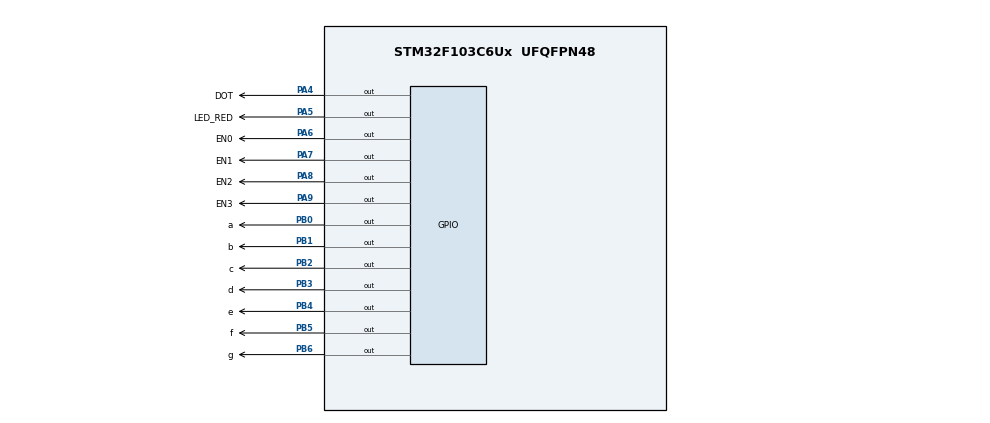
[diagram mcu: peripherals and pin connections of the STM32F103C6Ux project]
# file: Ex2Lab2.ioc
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Mcu.Family=STM32F1
Mcu.Name=STM32F103C6Ux
Mcu.Package=UFQFPN48
NVIC.PriorityGroup=NVIC_PRIORITYGROUP_4
NVIC.TIM2_IRQn=true\:0\:0\:false\:false\:true\:true\:true
PA4.GPIO_Label=DOT
PA4.Signal=GPIO_Output
PA5.GPIO_Label=LED_RED
PA5.Signal=GPIO_Output
PA6.GPIO_Label=EN0
PA6.Signal=GPIO_Output
PA7.GPIO_Label=EN1
PA7.Signal=GPIO_Output
PA8.GPIO_Label=EN2
PA8.Signal=GPIO_Output
PA9.GPIO_Label=EN3
PA9.Signal=GPIO_Output
PB0.GPIO_Label=a
PB0.Signal=GPIO_Output
PB1.GPIO_Label=b
PB1.Signal=GPIO_Output
PB2.GPIO_Label=c
PB2.Signal=GPIO_Output
PB3.GPIO_Label=d
PB3.Signal=GPIO_Output
PB4.GPIO_Label=e
PB4.Signal=GPIO_Output
PB5.GPIO_Label=f
PB5.Signal=GPIO_Output
PB6.GPIO_Label=g
PB6.Signal=GPIO_Output
ProjectManager.HeapSize=0x200
ProjectManager.StackSize=0x400
ProjectManager.TargetToolchain=STM32CubeIDE
RCC.APB1Freq_Value=8000000
RCC.APB2Freq_Value=8000000
TIM2.Period=9
TIM2.Prescaler=7999
VP_SYS_VS_ND.Mode=No_Debug
VP_TIM2_VS_ClockSourceINT.Mode=Internal
board=custom

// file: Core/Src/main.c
/* USER CODE BEGIN Header */
/**
  ******************************************************************************
  * @file           : main.c
  * @brief          : Main program body
  ******************************************************************************
  * @attention
  *
  * <h2><center>&copy; Copyright (c) 2024 STMicroelectronics.
  * All rights reserved.</center></h2>
  *
  * This software component is licensed by ST under BSD 3-Clause license,
  * the "License"; You may not use this file except in compliance with the
  * License. You may obtain a copy of the License at:
  *                        opensource.org/licenses/BSD-3-Clause
  *
  ******************************************************************************
  */
/* USER CODE END Header */
#include "main.h"

TIM_HandleTypeDef htim2;

void SystemClock_Config(void);
static void MX_GPIO_Init(void);
static void MX_TIM2_Init(void);
void display7SEG(int num);

int main(void)
{

  /* MCU Configuration--------------------------------------------------------*/

  /* Reset of all peripherals, Initializes the Flash interface and the Systick. */
  HAL_Init();

  /* Configure the system clock */
  SystemClock_Config();

  /* Initialize all configured peripherals */
  MX_GPIO_Init();
  MX_TIM2_Init();
  /* USER CODE BEGIN 2 */
  HAL_TIM_Base_Start_IT(&htim2);
  /* USER CODE END 2 */

  /* Infinite loop */
  while (1)
  {

  }
}
void display7SEG(int num)
{

  if (num == 1)
  {
    HAL_GPIO_WritePin(a_GPIO_Port, a_Pin, GPIO_PIN_SET);
    HAL_GPIO_WritePin(b_GPIO_Port, b_Pin, GPIO_PIN_RESET);
    HAL_GPIO_WritePin(c_GPIO_Port, c_Pin, GPIO_PIN_RESET);
    HAL_GPIO_WritePin(d_GPIO_Port, d_Pin, GPIO_PIN_SET);
    HAL_GPIO_WritePin(e_GPIO_Port, e_Pin, GPIO_PIN_SET);
    HAL_GPIO_WritePin(f_GPIO_Port, f_Pin, GPIO_PIN_SET);
    HAL_GPIO_WritePin(g_GPIO_Port, g_Pin, GPIO_PIN_SET);
  }

  else if (num == 2)
  {
    HAL_GPIO_WritePin(a_GPIO_Port, a_Pin, GPIO_PIN_RESET);
    HAL_GPIO_WritePin(b_GPIO_Port, b_Pin, GPIO_PIN_RESET);
    HAL_GPIO_WritePin(c_GPIO_Port, c_Pin, GPIO_PIN_SET);
    HAL_GPIO_WritePin(d_GPIO_Port, d_Pin, GPIO_PIN_RESET);
    HAL_GPIO_WritePin(e_GPIO_Port, e_Pin, GPIO_PIN_RESET);
    HAL_GPIO_WritePin(f_GPIO_Port, f_Pin, GPIO_PIN_SET);
    HAL_GPIO_WritePin(g_GPIO_Port, g_Pin, GPIO_PIN_RESET);
  }

  else if (num == 3)
  {
    HAL_GPIO_WritePin(a_GPIO_Port, a_Pin, GPIO_PIN_RESET);
    HAL_GPIO_WritePin(b_GPIO_Port, b_Pin, GPIO_PIN_RESET);
    HAL_GPIO_WritePin(c_GPIO_Port, c_Pin, GPIO_PIN_RESET);
    HAL_GPIO_WritePin(d_GPIO_Port, d_Pin, GPIO_PIN_RESET);
    HAL_GPIO_WritePin(e_GPIO_Port, e_Pin, GPIO_PIN_SET);
    HAL_GPIO_WritePin(f_GPIO_Port, f_Pin, GPIO_PIN_SET);
    HAL_GPIO_WritePin(g_GPIO_Port, g_Pin, GPIO_PIN_RESET);
  }
  else if (num == 0)
  {
    HAL_GPIO_WritePin(a_GPIO_Port, a_Pin, GPIO_PIN_RESET);
    HAL_GPIO_WritePin(b_GPIO_Port, b_Pin, GPIO_PIN_RESET);
    HAL_GPIO_WritePin(c_GPIO_Port, c_Pin, GPIO_PIN_RESET);
    HAL_GPIO_WritePin(d_GPIO_Port, d_Pin, GPIO_PIN_RESET);
    HAL_GPIO_WritePin(e_GPIO_Port, e_Pin, GPIO_PIN_RESET);
    HAL_GPIO_WritePin(f_GPIO_Port, f_Pin, GPIO_PIN_RESET);
    HAL_GPIO_WritePin(g_GPIO_Port, g_Pin, GPIO_PIN_SET);
  }
}
void SystemClock_Config(void)
{
  RCC_OscInitTypeDef RCC_OscInitStruct = {0};
  RCC_ClkInitTypeDef RCC_ClkInitStruct = {0};

  /** Initializes the RCC Oscillators according to the specified parameters
  * in the RCC_OscInitTypeDef structure.
  */
  RCC_OscInitStruct.OscillatorType = RCC_OSCILLATORTYPE_HSI;
  RCC_OscInitStruct.HSIState = RCC_HSI_ON;
  RCC_OscInitStruct.HSICalibrationValue = RCC_HSICALIBRATION_DEFAULT;
  RCC_OscInitStruct.PLL.PLLState = RCC_PLL_NONE;
  if (HAL_RCC_OscConfig(&RCC_OscInitStruct) != HAL_OK)
  {
    Error_Handler();
  }
  /** Initializes the CPU, AHB and APB buses clocks
  */
  RCC_ClkInitStruct.ClockType = RCC_CLOCKTYPE_HCLK|RCC_CLOCKTYPE_SYSCLK
                              |RCC_CLOCKTYPE_PCLK1|RCC_CLOCKTYPE_PCLK2;
  RCC_ClkInitStruct.SYSCLKSource = RCC_SYSCLKSOURCE_HSI;
  RCC_ClkInitStruct.AHBCLKDivider = RCC_SYSCLK_DIV1;
  RCC_ClkInitStruct.APB1CLKDivider = RCC_HCLK_DIV1;
  RCC_ClkInitStruct.APB2CLKDivider = RCC_HCLK_DIV1;

  if (HAL_RCC_ClockConfig(&RCC_ClkInitStruct, FLASH_LATENCY_0) != HAL_OK)
  {
    Error_Handler();
  }
}

static void MX_TIM2_Init(void)
{

  TIM_ClockConfigTypeDef sClockSourceConfig = {0};
  TIM_MasterConfigTypeDef sMasterConfig = {0};

  htim2.Instance = TIM2;
  htim2.Init.Prescaler = 7999;
  htim2.Init.CounterMode = TIM_COUNTERMODE_UP;
  htim2.Init.Period = 9;
  htim2.Init.ClockDivision = TIM_CLOCKDIVISION_DIV1;
  htim2.Init.AutoReloadPreload = TIM_AUTORELOAD_PRELOAD_DISABLE;
  if (HAL_TIM_Base_Init(&htim2) != HAL_OK)
  {
    Error_Handler();
  }
  sClockSourceConfig.ClockSource = TIM_CLOCKSOURCE_INTERNAL;
  if (HAL_TIM_ConfigClockSource(&htim2, &sClockSourceConfig) != HAL_OK)
  {
    Error_Handler();
  }
  sMasterConfig.MasterOutputTrigger = TIM_TRGO_RESET;
  sMasterConfig.MasterSlaveMode = TIM_MASTERSLAVEMODE_DISABLE;
  if (HAL_TIMEx_MasterConfigSynchronization(&htim2, &sMasterConfig) != HAL_OK)
  {
    Error_Handler();
  }

}

static void MX_GPIO_Init(void)
{
  GPIO_InitTypeDef GPIO_InitStruct = {0};

  /* GPIO Ports Clock Enable */
  __HAL_RCC_GPIOA_CLK_ENABLE();
  __HAL_RCC_GPIOB_CLK_ENABLE();

  /*Configure GPIO pin Output Level */
  HAL_GPIO_WritePin(GPIOA, DOT_Pin|LED_RED_Pin|EN0_Pin|EN1_Pin
                          |EN2_Pin|EN3_Pin, GPIO_PIN_RESET);

  /*Configure GPIO pin Output Level */
  HAL_GPIO_WritePin(GPIOB, a_Pin|b_Pin|c_Pin|d_Pin
                          |e_Pin|f_Pin|g_Pin, GPIO_PIN_RESET);

  /*Configure GPIO pins : DOT_Pin LED_RED_Pin EN0_Pin EN1_Pin
                           EN2_Pin EN3_Pin */
  GPIO_InitStruct.Pin = DOT_Pin|LED_RED_Pin|EN0_Pin|EN1_Pin
                          |EN2_Pin|EN3_Pin;
  GPIO_InitStruct.Mode = GPIO_MODE_OUTPUT_PP;
  GPIO_InitStruct.Pull = GPIO_NOPULL;
  GPIO_InitStruct.Speed = GPIO_SPEED_FREQ_LOW;
  HAL_GPIO_Init(GPIOA, &GPIO_InitStruct);

  /*Configure GPIO pins : a_Pin b_Pin c_Pin d_Pin
                           e_Pin f_Pin g_Pin */
  GPIO_InitStruct.Pin = a_Pin|b_Pin|c_Pin|d_Pin
                          |e_Pin|f_Pin|g_Pin;
  GPIO_InitStruct.Mode = GPIO_MODE_OUTPUT_PP;
  GPIO_InitStruct.Pull = GPIO_NOPULL;
  GPIO_InitStruct.Speed = GPIO_SPEED_FREQ_LOW;
  HAL_GPIO_Init(GPIOB, &GPIO_InitStruct);

}

/* USER CODE BEGIN 4 */
int counter = 50; //7seg led display every 500ms
int status = 0;   //status = x -> ENx
int counter1 = 100; //leds blinking
void HAL_TIM_PeriodElapsedCallback(TIM_HandleTypeDef *htim)
{
	if(status == 0)
	{
		counter--;
		HAL_GPIO_WritePin(EN0_GPIO_Port, EN0_Pin, GPIO_PIN_RESET);
		HAL_GPIO_WritePin(EN1_GPIO_Port, EN1_Pin, GPIO_PIN_SET);
		HAL_GPIO_WritePin(EN2_GPIO_Port, EN2_Pin, GPIO_PIN_SET);
		HAL_GPIO_WritePin(EN3_GPIO_Port, EN3_Pin, GPIO_PIN_SET);
		display7SEG(1);
		if(counter <= 0)
		{
			counter = 50;
			status = 1;
		}
	}
	else if(status == 1)
	{
		counter--;
		HAL_GPIO_WritePin(EN0_GPIO_Port, EN0_Pin, GPIO_PIN_SET);
		HAL_GPIO_WritePin(EN1_GPIO_Port, EN1_Pin, GPIO_PIN_RESET);
		HAL_GPIO_WritePin(EN2_GPIO_Port, EN2_Pin, GPIO_PIN_SET);
		HAL_GPIO_WritePin(EN3_GPIO_Port, EN3_Pin, GPIO_PIN_SET);
		display7SEG(2);
		if(counter <= 0)
		{
			counter = 50;
			status = 2;
		}
	}
	else if(status == 2)
	{
		counter--;
		HAL_GPIO_WritePin(EN0_GPIO_Port, EN0_Pin, GPIO_PIN_SET);
		HAL_GPIO_WritePin(EN1_GPIO_Port, EN1_Pin, GPIO_PIN_SET);
		HAL_GPIO_WritePin(EN2_GPIO_Port, EN2_Pin, GPIO_PIN_RESET);
		HAL_GPIO_WritePin(EN3_GPIO_Port, EN3_Pin, GPIO_PIN_SET);
		display7SEG(3);
		if(counter <= 0)
		{
			counter = 50;
			status = 3;
		}
	}
	else if(status == 3)
	{
		counter--;
		HAL_GPIO_WritePin(EN0_GPIO_Port, EN0_Pin, GPIO_PIN_SET);
		HAL_GPIO_WritePin(EN1_GPIO_Port, EN1_Pin, GPIO_PIN_SET);
		HAL_GPIO_WritePin(EN2_GPIO_Port, EN2_Pin, GPIO_PIN_SET);
		HAL_GPIO_WritePin(EN3_GPIO_Port, EN3_Pin, GPIO_PIN_RESET);
		display7SEG(0);
		if(counter <= 0)
		{
			counter = 50;
			status = 0;
		}
	}
	counter1--;
	if (counter1 <= 0)
	{
		counter1 = 100;
		HAL_GPIO_TogglePin(LED_RED_GPIO_Port, LED_RED_Pin);
		HAL_GPIO_TogglePin(DOT_GPIO_Port, DOT_Pin);
	}
}
/* USER CODE END 4 */

void Error_Handler(void)
{
  __disable_irq();
  while (1)
  {
  }
}

/************************ (C) COPYRIGHT STMicroelectronics *****END OF FILE****/
